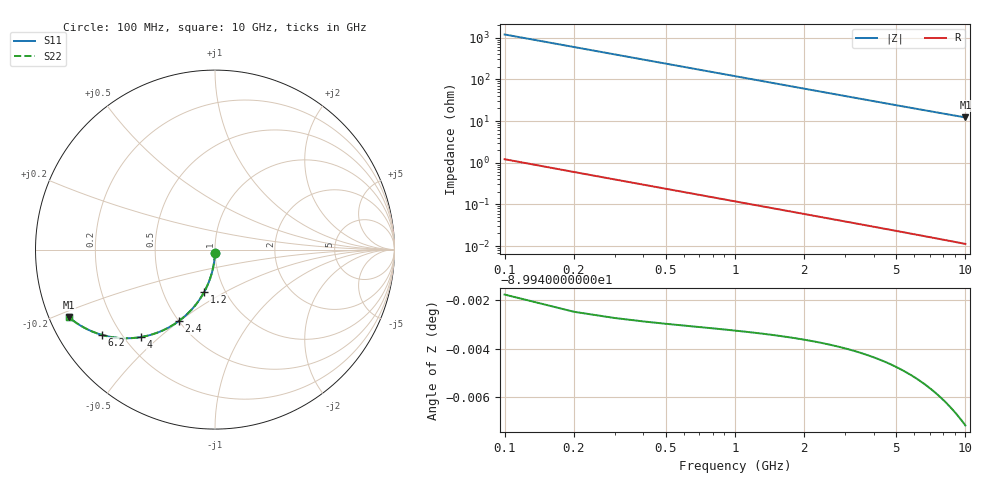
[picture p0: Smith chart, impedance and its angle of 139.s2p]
# Hz S RI R 50.00
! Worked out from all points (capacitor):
!   100 points, 100 MHz to 10 GHz, reference 50 ohm
!   read as one part in shunt: C = 1.34 pF near 100 MHz
!   lowest |Z| = 12.2 ohm at 10 GHz (marker M1)
!   S11 on the Smith chart (normalised r, x): 100 MHz: 1.00, -0.04; 1.2 GHz: 0.80, -0.40; 2.4 GHz: 0.50, -0.50; 4 GHz: 0.27, -0.44; 6.2 GHz: 0.13, -0.33; 10 GHz: 0.06, -0.22
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1e8  -0.000427 -0.0209  0.9995 -0.0211  0.9995 -0.0211  -0.000427 -0.0209
2e8  -0.00177 -0.0417  0.9982 -0.0421  0.9982 -0.0421  -0.00177 -0.0417
3e8  -0.00397 -0.0623  0.996 -0.063  0.996 -0.063  -0.00397 -0.0623
4e8  -0.00704 -0.0829  0.9929 -0.0838  0.9929 -0.0838  -0.00704 -0.0829
5e8  -0.0109 -0.1032  0.989 -0.1043  0.989 -0.1043  -0.0109 -0.1032
6e8  -0.0157 -0.1232  0.9842 -0.1246  0.9842 -0.1246  -0.0157 -0.1232
7e8  -0.0212 -0.1429  0.9787 -0.1445  0.9787 -0.1445  -0.0212 -0.1429
9e8  -0.0345 -0.1812  0.9654 -0.1833  0.9654 -0.1833  -0.0345 -0.1812
1.2e9  -0.0598 -0.2352  0.9402 -0.238  0.9402 -0.238  -0.0598 -0.2352
1.5e9  -0.0903 -0.2844  0.9097 -0.2878  0.9097 -0.2878  -0.0903 -0.2844
1.8e9  -0.1249 -0.3281  0.875 -0.3322  0.875 -0.3322  -0.1249 -0.3281
2.1e9  -0.1626 -0.3662  0.8373 -0.371  0.8373 -0.371  -0.1626 -0.3662
2.4e9  -0.2023 -0.3985  0.7976 -0.404  0.7976 -0.404  -0.2023 -0.3985
2.9e9  -0.2701 -0.4402  0.7298 -0.4468  0.7298 -0.4468  -0.2701 -0.4402
3.4e9  -0.337 -0.4683  0.6629 -0.4761  0.6629 -0.4761  -0.337 -0.4683
4e9  -0.4129 -0.4873  0.587 -0.4965  0.587 -0.4965  -0.4129 -0.4873
5.1e9  -0.5333 -0.4925  0.4665 -0.5043  0.4665 -0.5043  -0.5333 -0.4925
6.2e9  -0.6281 -0.4756  0.3718 -0.49  0.3718 -0.49  -0.6281 -0.4756
6.7e9  -0.6635 -0.4642  0.3363 -0.4798  0.3363 -0.4798  -0.6635 -0.4642
7.5e9  -0.712 -0.4435  0.2878 -0.461  0.2878 -0.461  -0.712 -0.4435
8.4e9  -0.7563 -0.4189  0.2435 -0.4386  0.2435 -0.4386  -0.7563 -0.4189
1e10  -0.815 -0.3758  0.1847 -0.3995  0.1847 -0.3995  -0.815 -0.3758
